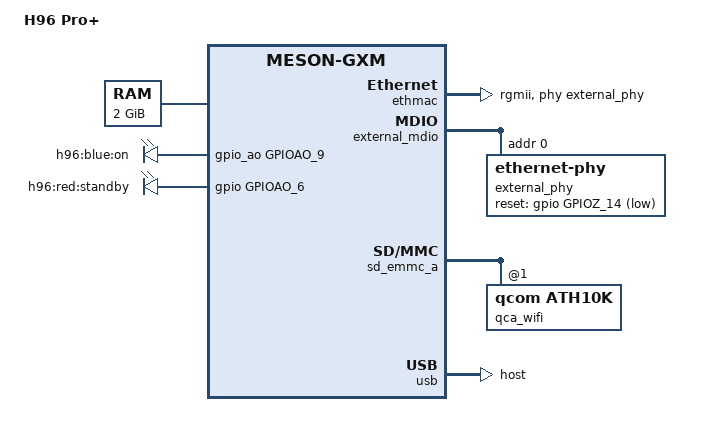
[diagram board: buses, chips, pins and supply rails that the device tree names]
/dts-v1/;

#include "meson-gxm-s912-h96-pro-plus.dtsi"

/ {
	compatible = "h96,pro-plus", "amlogic,s912", "amlogic,meson-gxm";
	model = "H96 Pro+";

	memory@0 {
		device_type = "memory";
		reg = <0x0 0x0 0x0 0x80000000>; /* 2 GiB or 3 GiB */
	};

	leds {
		compatible = "gpio-leds";

		led-blue {
			label = "h96:blue:on";
			gpios = <&gpio_ao GPIOAO_9 GPIO_ACTIVE_HIGH>;
			default-state = "on";
		};

		led-red {
			label = "h96:red:standby";
			gpios = <&gpio GPIOAO_6 GPIO_ACTIVE_HIGH>;
			default-state = "off";
			retain-state-suspended;
			panic-indicator;
		};
	};
};

&ethmac {
	pinctrl-0 = <&eth_pins>;
	pinctrl-names = "default";
	phy-handle = <&external_phy>;
	amlogic,tx-delay-ns = <2>;
	phy-mode = "rgmii";
	status = "okay";
};

&external_mdio {
	external_phy: ethernet-phy@0 {
		/* Realtek RTL8211F (0x001cc916) */
		reg = <0>;

		reset-assert-us = <10000>;
		reset-deassert-us = <80000>;
		reset-gpios = <&gpio GPIOZ_14 GPIO_ACTIVE_LOW>;

		interrupt-parent = <&gpio_intc>;
		/* MAC_INTR on GPIOZ_15 */
		interrupts = <25 IRQ_TYPE_LEVEL_LOW>;
	};
};

/* WLAN: Atheros 10k (QCA9377) */
&sd_emmc_a {
	max-frequency = <200000000>;

	qca_wifi: qca-wifi@1 {
		compatible = "qcom,ath10k";
		reg = <1>;
	};
};

/* This is connected to the Bluetooth module: */
/* &uart_A {
	status = "okay";
	pinctrl-0 = <&uart_a_pins>, <&uart_a_cts_rts_pins>;
	pinctrl-names = "default";
	uart-has-rtscts;

	bluetooth {
		compatible = "qcom,qca9377-bt";
		shutdown-gpios = <&gpio GPIOX_17 GPIO_ACTIVE_HIGH>;
		max-speed = <2000000>;
		clocks = <&wifi32k>;
	};
}; */

&usb {
	dr_mode = "host";
};
